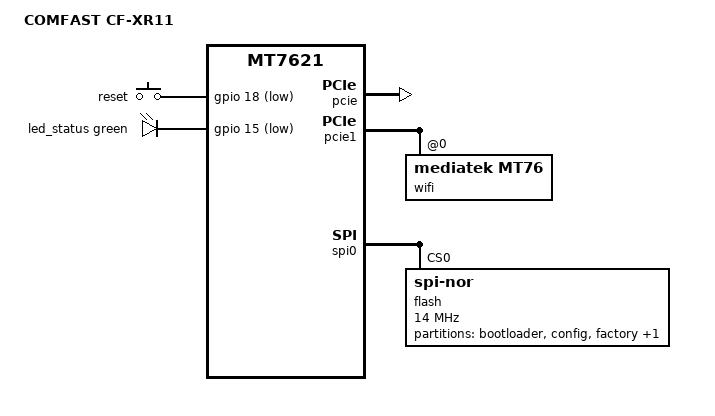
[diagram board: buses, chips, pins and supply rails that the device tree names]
// SPDX-License-Identifier: GPL-2.0-or-later OR MIT
/*
 * COMFAST CF-XR11 (Wi-Fi 6 AX1800) — MT7621A + MT7915 (DBDC), 16 MB SPI-NOR
 * Flash map, EEPROM offset (Factory 0x0, chip-id 0x7915) and MAC (Factory 0x4)
 * taken directly from the stock flash dump. Template: comfast_cf-e390ax.
 */

#include "mt7621.dtsi"

#include <dt-bindings/gpio/gpio.h>
#include <dt-bindings/input/input.h>
#include <dt-bindings/leds/common.h>

/ {
	compatible = "comfast,cf-xr11", "mediatek,mt7621-soc";
	model = "COMFAST CF-XR11";

	chosen {
		bootargs = "console=ttyS0,115200";
	};

	keys {
		compatible = "gpio-keys";

		reset {
			label = "reset";
			gpios = <&gpio 18 GPIO_ACTIVE_LOW>;	/* placeholder: verify GPIO */
			linux,code = <KEY_RESTART>;
		};
	};

	leds {
		compatible = "gpio-leds";

		led_status: status {				/* placeholder: verify GPIO */
			function = LED_FUNCTION_STATUS;
			color = <LED_COLOR_ID_GREEN>;
			gpios = <&gpio 15 GPIO_ACTIVE_LOW>;
		};
	};

	aliases {
		led-boot = &led_status;
		led-failsafe = &led_status;
		led-running = &led_status;
		led-upgrade = &led_status;
		label-mac-device = &gmac0;
	};
};

&pcie {
	status = "okay";
};

/*
 * MT7915 is on the PCIe1 slot on the CF-E390AX reference wiring.
 * If Wi-Fi does NOT appear after flashing (check `dmesg | grep mt7915`
 * on the serial console), change &pcie1 below to &pcie0 and rebuild.
 */
&pcie1 {
	wifi@0,0 {
		compatible = "mediatek,mt76";
		reg = <0x0000 0 0 0 0>;
		nvmem-cells = <&eeprom_factory_0>;
		nvmem-cell-names = "eeprom";
	};
};

&spi0 {
	status = "okay";

	flash@0 {
		compatible = "jedec,spi-nor";
		reg = <0>;
		spi-max-frequency = <14000000>;

		partitions {
			compatible = "fixed-partitions";
			#address-cells = <1>;
			#size-cells = <1>;

			partition@0 {
				label = "bootloader";
				reg = <0x0 0x40000>;
				read-only;
			};

			partition@40000 {
				label = "config";
				reg = <0x40000 0x10000>;
				read-only;
			};

			partition@50000 {
				label = "factory";
				reg = <0x50000 0x40000>;
				read-only;

				nvmem-layout {
					compatible = "fixed-layout";
					#address-cells = <1>;
					#size-cells = <1>;

					eeprom_factory_0: eeprom@0 {
						reg = <0x0 0xe00>;
					};

					macaddr_factory_4: macaddr@4 {
						reg = <0x4 0x6>;
					};
				};
			};

			partition@90000 {
				compatible = "denx,uimage";
				label = "firmware";
				reg = <0x90000 0xf70000>;
			};
		};
	};
};

&gmac0 {
	nvmem-cells = <&macaddr_factory_4>;
	nvmem-cell-names = "mac-address";
};

/* Stock swconfig mapped: LAN = switch ports 0-3, WAN = port 4 */
&switch0 {
	ports {
		port@0 {
			status = "okay";
			label = "lan1";
		};

		port@1 {
			status = "okay";
			label = "lan2";
		};

		port@2 {
			status = "okay";
			label = "lan3";
		};

		port@3 {
			status = "okay";
			label = "lan4";
		};

		port@4 {
			status = "okay";
			label = "wan";
		};
	};
};
